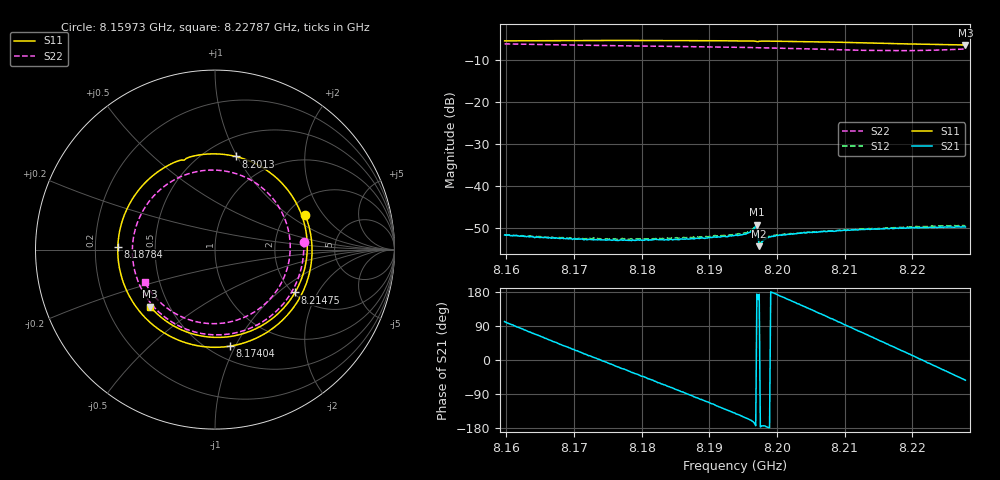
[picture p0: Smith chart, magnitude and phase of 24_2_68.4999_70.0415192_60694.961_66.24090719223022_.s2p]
#  HZ  S  RI  R  50.00
! Rohde & Schwarz Vector Network Analyzer
! Rohde-Schwarz,ZNB20-2Port,1311601062101988,3.16
! Created: UTC 3/20/2024, 5:04:48 PM
! freq[Hz]  re:S11  im:S11  re:S21  im:S21  re:S12  im:S12  re:S22  im:S22
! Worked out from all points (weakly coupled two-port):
!   401 points, 8.15973 GHz to 8.22787 GHz, reference 50 ohm
!   highest |S21| = -49.27 dB at 8.19704 GHz (marker M1); lowest = -54.4 dB at 8.19738 GHz (marker M2)
!   lowest |S11| = -6.4 dB at 8.22787 GHz (marker M3), VSWR 2.85, Z = 19.7 - j16.2 ohm
!   |S11| at or under -10 dB: nowhere
!   |S22| runs from -7.7 to -6.1 dB; largest |S21 - S12| = 0.00023
!   S11 on the Smith chart (normalised r, x): 8.15973 GHz: 2.50, +1.35; 8.17404 GHz: 0.62, -0.95; 8.18784 GHz: 0.30, +0.01; 8.2013 GHz: 0.68, +0.99; 8.21475 GHz: 2.04, -1.31; 8.22787 GHz: 0.39, -0.32
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8.159734e9  0.5025 0.1928  -0.000509 0.00254  -0.000482 0.00253  0.4936 0.0431
8.165185e9  0.5163 -0.1661  0.00115 0.00214  0.00119 0.0022  0.408 -0.2663
8.171147e9  0.2693 -0.4729  0.00219 0.000763  0.00221 0.000779  0.1276 -0.4608
8.174043e9  0.0843 -0.538  0.00227 -2.92e-05  0.0023 -2.78e-05  -0.0372 -0.4727
8.178131e9  -0.1916 -0.5092  0.00195 -0.00109  0.00202 -0.00112  -0.2536 -0.3947
8.18256e9  -0.4332 -0.3277  0.00112 -0.00197  0.00113 -0.00207  -0.4146 -0.2093
8.18784e9  -0.5415 0.0165  -0.000315 -0.00231  -0.000324 -0.00238  -0.4524 0.0774
8.190736e9  -0.4967 0.2129  -0.00114 -0.00218  -0.00127 -0.0022  -0.3952 0.2271
8.193802e9  -0.3738 0.3879  -0.00197 -0.00164  -0.00207 -0.00158  -0.2815 0.3535
8.196698e9  -0.1994 0.4962  -0.00304 -0.000689  -0.00317 -0.000615  -0.1369 0.4258
8.197039e9  -0.1751 0.4985  -0.00342 0.000364  -0.00345 0.000516  -0.1183 0.4306
8.197379e9  -0.1616 0.5072  -0.00189 0.000211  -0.00193 0.000275  -0.0996 0.4349
8.19772e9  -0.1375 0.5167  -0.00209 -0.000213  -0.00214 -0.000105  -0.0807 0.4383
8.198912e9  -0.0531 0.5316  -0.00247 -4.6e-05  -0.00249 8.67e-05  -0.0133 0.4432
8.201297e9  0.1144 0.5191  -0.00249 0.000779  -0.00249 0.000901  0.1204 0.4221
8.205215e9  0.3552 0.3877  -0.00186 0.00205  -0.0018 0.00219  0.3086 0.3004
8.210155e9  0.5102 0.0792  -0.000115 0.00293  -4.69e-05 0.00294  0.4188 0.0335
8.214754e9  0.446 -0.2387  0.00175 0.00249  0.0018 0.00247  0.3396 -0.2343
8.216628e9  0.3636 -0.3453  0.00239 0.00194  0.00248 0.00192  0.2578 -0.3204
8.219524e9  0.1882 -0.4574  0.00301 0.000866  0.00312 0.000783  0.0892 -0.4017
8.222249e9  -0.00525 -0.4889  0.00314 -0.000398  0.00322 -0.000506  -0.0912 -0.4045
8.227871e9  -0.3614 -0.3172  0.00193 -0.00259  0.00185 -0.00278  -0.3908 -0.1817
